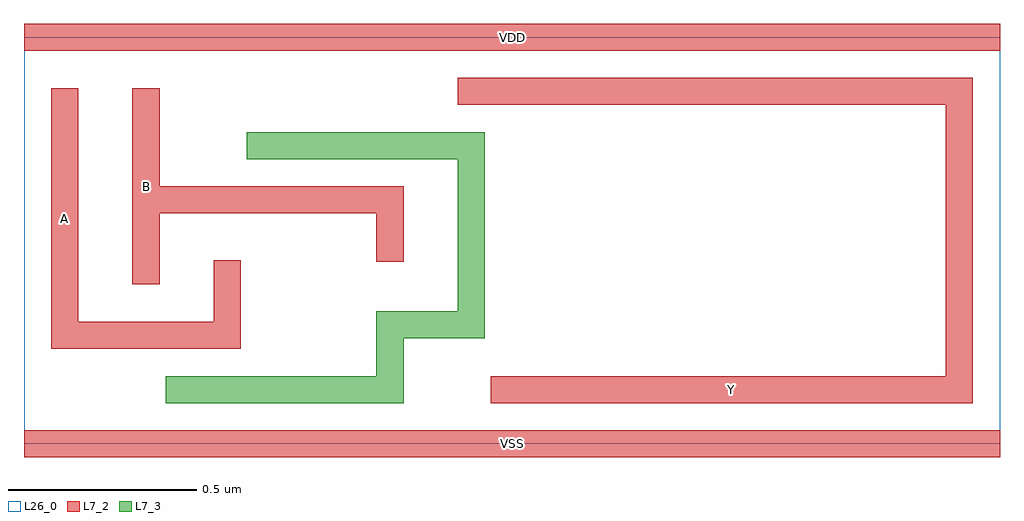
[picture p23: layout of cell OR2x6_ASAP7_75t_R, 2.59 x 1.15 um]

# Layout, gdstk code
import gdstk
lib = gdstk.Library(unit=1e-6, precision=1e-09)
def R(c, l, rs):  # rectangles x0, y0, x1, y1
    for r in rs: c.add(gdstk.rectangle(r[:2], r[2:], *l))
L7_2 = (7, 2)
L7_3 = (7, 3)
L26_0 = (26, 0)

or2x6_asap7_75t_r = lib.new_cell('OR2x6_ASAP7_75t_R')
R(or2x6_asap7_75t_r, L7_2, [(0,-0.036,2.592,0.036), (1.24,0.108,2.52,0.18), (2.448,0.108,2.52,0.972), (0.072,0.252,0.576,0.324), (0.072,0.252,0.144,0.944), (0.504,0.252,0.576,0.488), (0.288,0.424,0.36,0.944), (0.936,0.484,1.008,0.684), (0.288,0.612,1.008,0.684), (1.152,0.9,2.52,0.972), (0,1.044,2.592,1.116)])
R(or2x6_asap7_75t_r, L7_3, [(0.376,0.108,1.008,0.18), (0.936,0.108,1.008,0.352), (0.936,0.28,1.224,0.352), (1.152,0.28,1.224,0.828), (0.592,0.756,1.224,0.828)])
R(or2x6_asap7_75t_r, L26_0, [(0,0,2.592,1.08)])
or2x6_asap7_75t_r.add(gdstk.Label('A', (0.108,0.598), layer=7, texttype=1))
or2x6_asap7_75t_r.add(gdstk.Label('B', (0.324,0.684), layer=7, texttype=1))
or2x6_asap7_75t_r.add(gdstk.Label('VDD', (1.296,1.08), layer=7, texttype=1))
or2x6_asap7_75t_r.add(gdstk.Label('VSS', (1.296,0), layer=7, texttype=1))
or2x6_asap7_75t_r.add(gdstk.Label('Y', (1.88,0.144), layer=7, texttype=1))

lib.write_gds('OR2x6_ASAP7_75t_R.gds')
